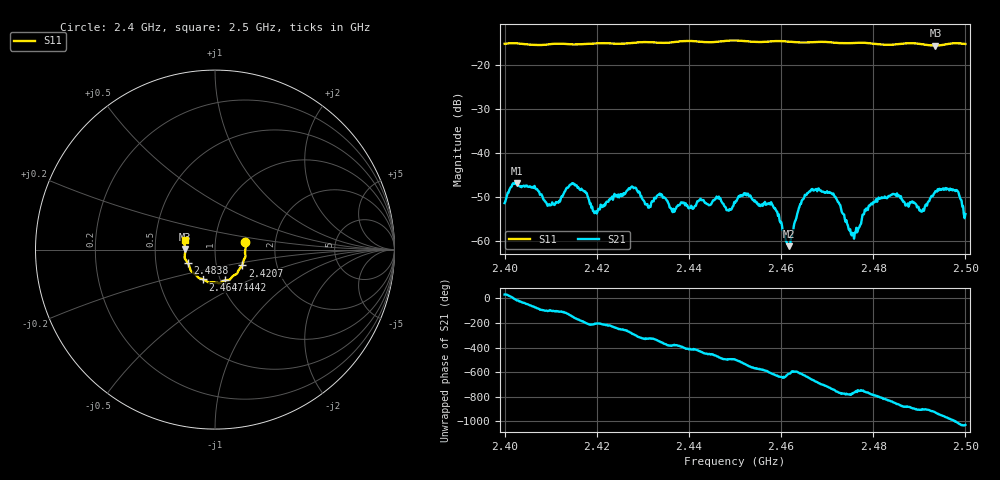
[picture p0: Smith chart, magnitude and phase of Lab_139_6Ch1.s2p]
# Hz S RI R 50
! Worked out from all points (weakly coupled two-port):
!   601 points, 2.4 GHz to 2.5 GHz, reference 50 ohm
!   highest |S21| = -46.79 dB at 2.4027 GHz (marker M1); lowest = -61.1 dB at 2.4617 GHz (marker M2)
!   lowest |S11| = -15.6 dB at 2.4935 GHz (marker M3), VSWR 1.40, Z = 35.8 + j0.138 ohm
!   |S11| at or under -10 dB: start of sweep to end of sweep
!   S12 and S22 are empty: the file has one direction only
!   S11 on the Smith chart (normalised r, x): 2.4 GHz: 1.40, +0.11; 2.4207 GHz: 1.33, -0.24; 2.4442 GHz: 1.05, -0.37; 2.4647 GHz: 0.83, -0.29; 2.4838 GHz: 0.73, -0.11; 2.5 GHz: 0.71, +0.08
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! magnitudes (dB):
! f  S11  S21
! 2.4 GHz  -15.2  -51.3
! 2.4027 GHz  -15.1  -46.8
! 2.4097 GHz  -15.3  -51.5
! 2.4167 GHz  -15.3  -48.0
! 2.4207 GHz  -15.1  -52.8
! 2.4273 GHz  -15.1  -47.8
! 2.4312 GHz  -14.8  -52.3
! 2.4333 GHz  -15.0  -49.5
! 2.4442 GHz  -14.9  -51.6
! 2.45 GHz  -14.5  -51.3
! 2.4578 GHz  -14.7  -51.1
! 2.4617 GHz  -14.7  -61.1
! 2.4647 GHz  -14.9  -50.5
! 2.4667 GHz  -14.9  -48.1
! 2.4713 GHz  -14.9  -49.1
! 2.4757 GHz  -15.0  -58.2
! 2.4833 GHz  -15.5  -49.7
! 2.4838 GHz  -15.4  -49.5
! 2.4905 GHz  -15.3  -53.3
! 2.4935 GHz  -15.6  -48.6
! 2.498 GHz  -15.1  -48.3
! 2.5 GHz  -15.3  -53.8
